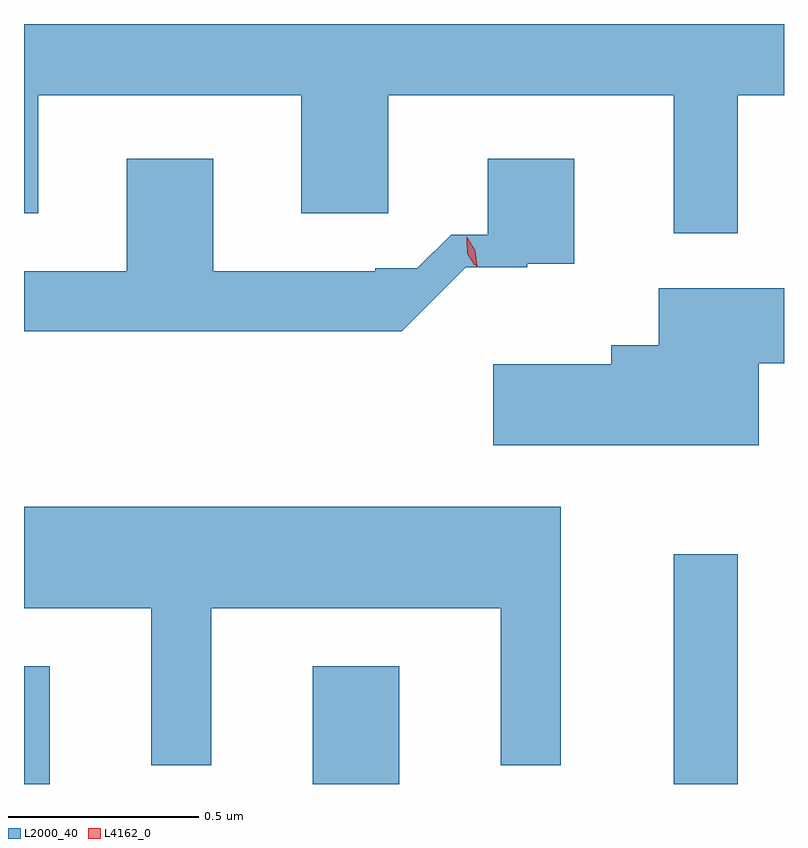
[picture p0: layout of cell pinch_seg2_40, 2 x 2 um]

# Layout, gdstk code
import gdstk
lib = gdstk.Library(unit=1e-6, precision=1e-09)
def R(c, l, rs):  # rectangles x0, y0, x1, y1
    for r in rs: c.add(gdstk.rectangle(r[:2], r[2:], *l))
def P(c, l, *ps):  # polygons
    for p in ps: c.add(gdstk.Polygon(p, *l))
L2000_40 = (2000, 40)
L4162_0 = (4162, 0)

pinch_seg2_40 = lib.new_cell('pinch_seg2_40')
R(pinch_seg2_40, L2000_40, [(845.151,1106.444,845.219,1106.754), (845.911,1106.444,846.139,1106.754), (846.861,1106.444,847.029,1107.048)])
P(pinch_seg2_40, L2000_40, [(847.029,1108.256),(847.151,1108.256),(847.151,1108.444),(845.151,1108.444),(845.151,1107.946),(845.189,1107.946),(845.189,1108.256),(845.881,1108.256),(845.881,1107.946),(846.109,1107.946),(846.109,1108.256),(846.861,1108.256),(846.861,1107.893),(847.029,1107.893)],
  [(846.313,1107.804),(846.475,1107.804),(846.475,1107.813),(846.599,1107.813),(846.599,1108.089),(846.371,1108.089),(846.371,1107.89),(846.275,1107.89),(846.186,1107.801),(846.075,1107.801),(846.075,1107.794),(845.649,1107.794),(845.649,1108.089),(845.421,1108.089),(845.421,1107.794),(845.151,1107.794),(845.151,1107.636),(846.145,1107.636)],
  [(847.084,1107.551),(847.151,1107.551),(847.151,1107.749),(846.821,1107.749),(846.821,1107.599),(846.696,1107.599),(846.696,1107.549),(846.386,1107.549),(846.386,1107.336),(847.084,1107.336)],
  [(845.644,1106.906),(846.406,1106.906),(846.406,1106.493),(846.564,1106.493),(846.564,1107.174),(845.151,1107.174),(845.151,1106.906),(845.486,1106.906),(845.486,1106.493),(845.644,1106.493)])
P(pinch_seg2_40, L4162_0, [(846.343,1107.805),(846.32,1107.841),(846.316,1107.883),(846.316,1107.884),(846.316,1107.884),(846.339,1107.848),(846.344,1107.805),(846.344,1107.805)],
  [(846.336,1107.81),(846.317,1107.84),(846.316,1107.876),(846.316,1107.877),(846.316,1107.877),(846.336,1107.846),(846.337,1107.81),(846.337,1107.81)])

lib.write_gds('pinch_seg2_40.gds')
